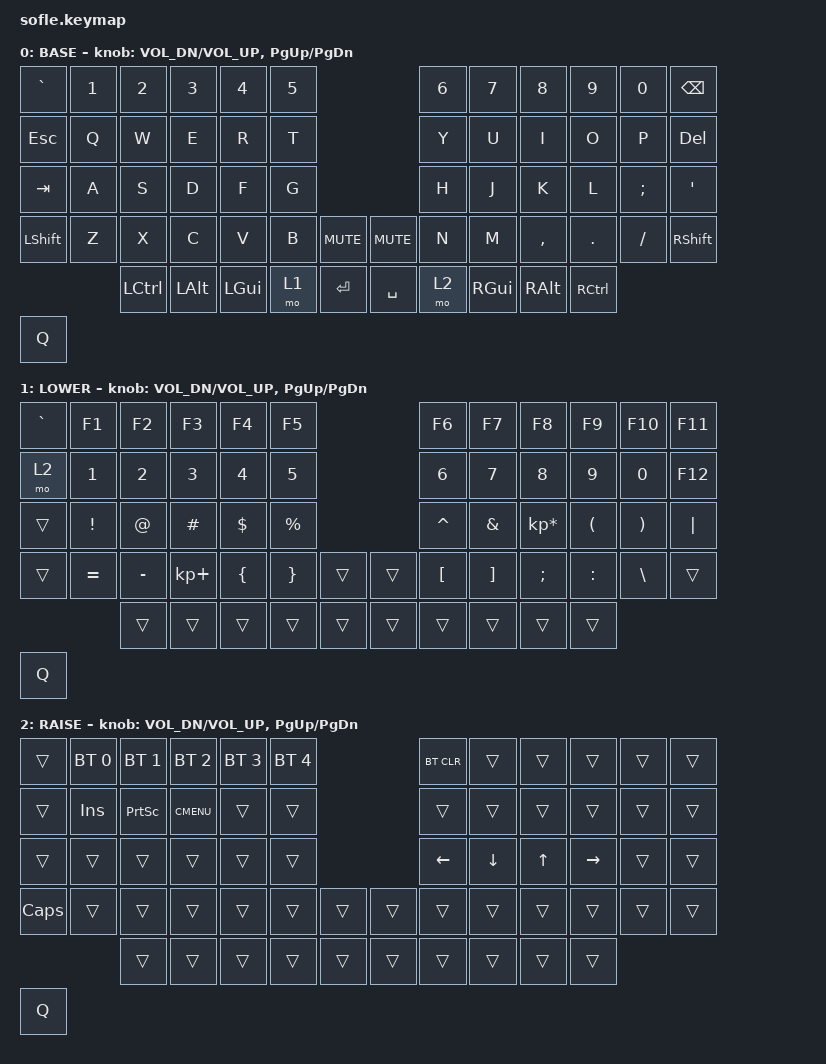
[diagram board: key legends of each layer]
#include <behaviors.dtsi>
#include <dt-bindings/zmk/keys.h>
#include <dt-bindings/zmk/bt.h>
#include <dt-bindings/zmk/ext_power.h>

/ {
    behaviors {
        mt: mod_tap {
            compatible = "zmk,behavior-hold-tap";
            #binding-cells = <2>;
            flavor = "balanced";
            tapping-term-ms = <200>;
            bindings = <&kp>, <&kp>;
            display-name = "Mod-Tap";
        };
    };

    keymap {
        compatible = "zmk,keymap";

        default_layer {
            display-name = "BASE";
            // ------------------------------------------------------------------------------------------------------------
            // |  `    |  1  |   2  |  3   |  4  |  5   |                  |  6   |  7  |  8    |  9   |   0   | BKSPC |
            // |  ESC  |  Q  |   W  |  E   |  R  |  T   |                  |  Y   |  U  |  I    |  O   |   P   |  DEL  |
            // |  TAB  |  A  |   S  |  D   |  F  |  G   |                  |  H   |  J  |  K    |  L   |   ;   |   '   |
            // | SHIFT |  Z  |   X  |  C   |  V  |  B   | MUTE  |  | MUTE  |  N   |  M  |  ,    |  .   |   /   | SHIFT |
            //               | CTRL | ALT  | GUI | LOWER| ENTER |  | SPACE | RAISE| GUI | ALT   | CTRL |

            bindings = <
&kp GRAVE  &kp N1  &kp N2    &kp N3    &kp N4     &kp N5                            &kp N6  &kp N7     &kp N8     &kp N9    &kp N0    &kp BSPC
&kp ESC    &kp Q   &kp W     &kp E     &kp R      &kp T                             &kp Y   &kp U      &kp I      &kp O     &kp P     &kp DEL
&kp TAB    &kp A   &kp S     &kp D     &kp F      &kp G                             &kp H   &kp J      &kp K      &kp L     &kp SEMI  &kp SQT
&kp LSHFT  &kp Z   &kp X     &kp C     &kp V      &kp B   &kp C_MUTE    &kp C_MUTE  &kp N   &kp M      &kp COMMA  &kp DOT   &kp FSLH  &kp RSHFT
                   &kp LCTRL &kp LALT  &kp LGUI   &mo 1   &kp RET       &kp SPACE   &mo 2   &kp RGUI  &kp RALT   &kp RCTRL
&kp Q
            >;

            sensor-bindings = <&inc_dec_kp C_VOL_DN C_VOL_UP &inc_dec_kp PG_UP PG_DN>;
        };

        lower_layer {
            display-name = "LOWER";
            // ------------------------------------------------------------------------------------------------------------
            // | `     |  F1 |  F2 |  F3  |  F4  |  F5  |                   |  F6  |  F7   |  F8   |  F9  |  F10  |  F11  |
            // | RAISE |   1 |   2 |   3  |   4  |   5  |                   |   6  |   7   |   8   |   9  |    0  |  F12  |
            // |       |  !  |  @  |  #   |  $   |  %   |                   |  ^   |  &    |  *    |  (   |   )   |   |   |
            // |       |  =  |  -  |  +   |  {   |  }   |        |  |       |  [   |  ]    |  ;    |  :   |   \   |       |
            //               |     |      |      |      |        |  |       |      |       |       |      |

            bindings = <
&kp GRAVE  &kp F1     &kp F2     &kp F3       &kp F4    &kp F5                       &kp F6     &kp F7    &kp F8           &kp F9     &kp F10   &kp F11
&mo 2      &kp N1     &kp N2     &kp N3       &kp N4    &kp N5                       &kp N6     &kp N7    &kp N8           &kp N9     &kp N0    &kp F12
&trans     &kp EXCL   &kp AT     &kp HASH     &kp DLLR  &kp PRCNT                    &kp CARET  &kp AMPS  &kp KP_MULTIPLY  &kp LPAR   &kp RPAR  &kp PIPE
&trans     &kp EQUAL  &kp MINUS  &kp KP_PLUS  &kp LBRC  &kp RBRC   &trans    &trans  &kp LBKT   &kp RBKT  &kp SEMI         &kp COLON  &kp BSLH  &trans
                      &trans     &trans       &trans    &trans     &trans    &trans  &trans     &trans    &trans           &trans
&kp Q
            >;

            sensor-bindings = <&inc_dec_kp C_VOL_DN C_VOL_UP &inc_dec_kp PG_UP PG_DN>;
        };

        raise_layer {
            display-name = "RAISE";
            // ------------------------------------------------------------------------------------------------------------
            // |     | BT1  | BT2  |  BT3  |  BT4  |  BT5 |                | BTCLR |      |       |      |       |       |
            // |     | INS  | PSCR | MENU  |       |      |                |       |      |       |      |       |       |
            // |     |      |      |       |       | CAPS |                |   <-  |   v  |   ^   |  ->  |  DEL  | BKSPC |
            // |     |      |      |       |       |      |      |  |      |       |      |       |      |       |       |
            //              |      |       |       |      |      |  |      |       |      |       |      |

            bindings = <
&trans     &bt BT_SEL 0  &bt BT_SEL 1  &bt BT_SEL 2  &bt BT_SEL 3  &bt BT_SEL 4                    &bt BT_CLR &trans    &trans  &trans     &trans   &trans
&trans     &kp INS       &kp PSCRN     &kp K_CMENU   &trans        &trans                          &trans     &trans    &trans  &trans     &trans   &trans
&trans     &trans        &trans        &trans        &trans        &trans                          &kp LEFT   &kp DOWN  &kp UP  &kp RIGHT  &trans   &trans
&kp CLCK   &trans        &trans        &trans        &trans        &trans        &trans    &trans  &trans     &trans    &trans  &trans     &trans   &trans
                         &trans        &trans        &trans        &trans        &trans    &trans  &trans     &trans    &trans  &trans
&kp Q
            >;

            sensor-bindings = <&inc_dec_kp C_VOL_DN C_VOL_UP &inc_dec_kp PG_UP PG_DN>;
        };
    };
};
